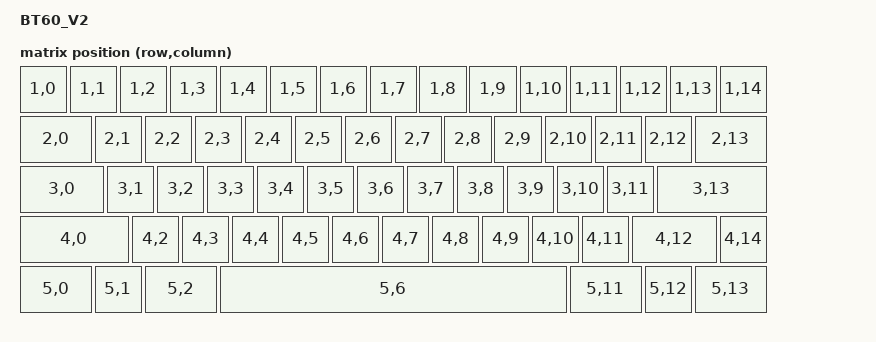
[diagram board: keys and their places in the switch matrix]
/*
* Copyright (c) 2022 The ZMK Contributors
*
* SPDX-License-Identifier: MIT
*/

#include <physical_layouts.dtsi>
#include <dt-bindings/zmk/matrix_transform.h>

/ {
    model = "BT60_V2";
    compatible = "polarityworks,bt60_v2";

    chosen {
        zmk,physical-layout = &layout_60_tsangan_split_mods;
    };

    tsangan_split_mods_transform: keymap_transform_4 {
        compatible = "zmk,matrix-transform";
        columns = <15>;
        rows = <5>;
        map = <
            RC(1,0) RC(1,1) RC(1,2) RC(1,3) RC(1,4) RC(1,5) RC(1,6) RC(1,7) RC(1,8) RC(1,9) RC(1,10) RC(1,11) RC(1,12) RC(1,13) RC(1,14)
            RC(2,0)   RC(2,1) RC(2,2) RC(2,3) RC(2,4) RC(2,5) RC(2,6) RC(2,7) RC(2,8) RC(2,9) RC(2,10) RC(2,11) RC(2,12)   RC(2,13)
            RC(3,0)     RC(3,1) RC(3,2) RC(3,3) RC(3,4) RC(3,5) RC(3,6) RC(3,7) RC(3,8) RC(3,9) RC(3,10) RC(3,11)      RC(3,13)
            RC(4,0)       RC(4,2) RC(4,3) RC(4,4) RC(4,5) RC(4,6) RC(4,7) RC(4,8) RC(4,9) RC(4,10)  RC(4,11)      RC(4,12)      RC(4,14)
            RC(5,0)    RC(5,1)    RC(5,2)                       RC(5,6)                     RC(5,11)      RC(5,12)       RC(5,13)
        >;  
    };
};

/ {
    layout_60_tsangan_split_mods: layout_60_tsangan_split_mods {
        compatible = "zmk,physical-layout";
        display-name = "Tsangan & Split Modifiers";
        transform = <&tsangan_split_mods_transform>;

        keys  //                 w   h    x    y     rot    rx    ry
        = <&key_physical_attrs 100 100    0    0       0     0     0>
        , <&key_physical_attrs 100 100  100    0       0     0     0>
        , <&key_physical_attrs 100 100  200    0       0     0     0>
        , <&key_physical_attrs 100 100  300    0       0     0     0>
        , <&key_physical_attrs 100 100  400    0       0     0     0>
        , <&key_physical_attrs 100 100  500    0       0     0     0>
        , <&key_physical_attrs 100 100  600    0       0     0     0>
        , <&key_physical_attrs 100 100  700    0       0     0     0>
        , <&key_physical_attrs 100 100  800    0       0     0     0>
        , <&key_physical_attrs 100 100  900    0       0     0     0>
        , <&key_physical_attrs 100 100 1000    0       0     0     0>
        , <&key_physical_attrs 100 100 1100    0       0     0     0>
        , <&key_physical_attrs 100 100 1200    0       0     0     0>
        , <&key_physical_attrs 100 100 1300    0       0     0     0>
        , <&key_physical_attrs 100 100 1400    0       0     0     0>
        , <&key_physical_attrs 150 100    0  100       0     0     0>
        , <&key_physical_attrs 100 100  150  100       0     0     0>
        , <&key_physical_attrs 100 100  250  100       0     0     0>
        , <&key_physical_attrs 100 100  350  100       0     0     0>
        , <&key_physical_attrs 100 100  450  100       0     0     0>
        , <&key_physical_attrs 100 100  550  100       0     0     0>
        , <&key_physical_attrs 100 100  650  100       0     0     0>
        , <&key_physical_attrs 100 100  750  100       0     0     0>
        , <&key_physical_attrs 100 100  850  100       0     0     0>
        , <&key_physical_attrs 100 100  950  100       0     0     0>
        , <&key_physical_attrs 100 100 1050  100       0     0     0>
        , <&key_physical_attrs 100 100 1150  100       0     0     0>
        , <&key_physical_attrs 100 100 1250  100       0     0     0>
        , <&key_physical_attrs 150 100 1350  100       0     0     0>
        , <&key_physical_attrs 175 100    0  200       0     0     0>
        , <&key_physical_attrs 100 100  175  200       0     0     0>
        , <&key_physical_attrs 100 100  275  200       0     0     0>
        , <&key_physical_attrs 100 100  375  200       0     0     0>
        , <&key_physical_attrs 100 100  475  200       0     0     0>
        , <&key_physical_attrs 100 100  575  200       0     0     0>
        , <&key_physical_attrs 100 100  675  200       0     0     0>
        , <&key_physical_attrs 100 100  775  200       0     0     0>
        , <&key_physical_attrs 100 100  875  200       0     0     0>
        , <&key_physical_attrs 100 100  975  200       0     0     0>
        , <&key_physical_attrs 100 100 1075  200       0     0     0>
        , <&key_physical_attrs 100 100 1175  200       0     0     0>
        , <&key_physical_attrs 225 100 1275  200       0     0     0>
        , <&key_physical_attrs 225 100    0  300       0     0     0>
        , <&key_physical_attrs 100 100  225  300       0     0     0>
        , <&key_physical_attrs 100 100  325  300       0     0     0>
        , <&key_physical_attrs 100 100  425  300       0     0     0>
        , <&key_physical_attrs 100 100  525  300       0     0     0>
        , <&key_physical_attrs 100 100  625  300       0     0     0>
        , <&key_physical_attrs 100 100  725  300       0     0     0>
        , <&key_physical_attrs 100 100  825  300       0     0     0>
        , <&key_physical_attrs 100 100  925  300       0     0     0>
        , <&key_physical_attrs 100 100 1025  300       0     0     0>
        , <&key_physical_attrs 100 100 1125  300       0     0     0>
        , <&key_physical_attrs 175 100 1225  300       0     0     0>
        , <&key_physical_attrs 100 100 1400  300       0     0     0>
        , <&key_physical_attrs 150 100    0  400       0     0     0>
        , <&key_physical_attrs 100 100  150  400       0     0     0>
        , <&key_physical_attrs 150 100  250  400       0     0     0>
        , <&key_physical_attrs 700 100  400  400       0     0     0>
        , <&key_physical_attrs 150 100 1100  400       0     0     0>
        , <&key_physical_attrs 100 100 1250  400       0     0     0>
        , <&key_physical_attrs 150 100 1350  400       0     0     0>
        ;
    };

    position_map {
        compatible = "zmk,physical-layout-position-map";

        layout_60_tsangan_split_mods_posmap = layout_60_tsangan_split_mods {
            physical-layout = <&layout_60_tsangan_split_mods>;
            positions 
                = < 0  1  2  3  4  5  6  7  8  9 10 11 12 13 14>
                , <15 16 17 18 19 20 21 22 23 24 25 26 27 28>
                , <29 30 31 32 33 34 35 36 37 38 39 40 41>
                , <42 62 43 44 45 46 47 48 49 50 51 52 53 54 63>
                , <55 56 57 58 59 60 61 64 65>
                ;
        };
    };

};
